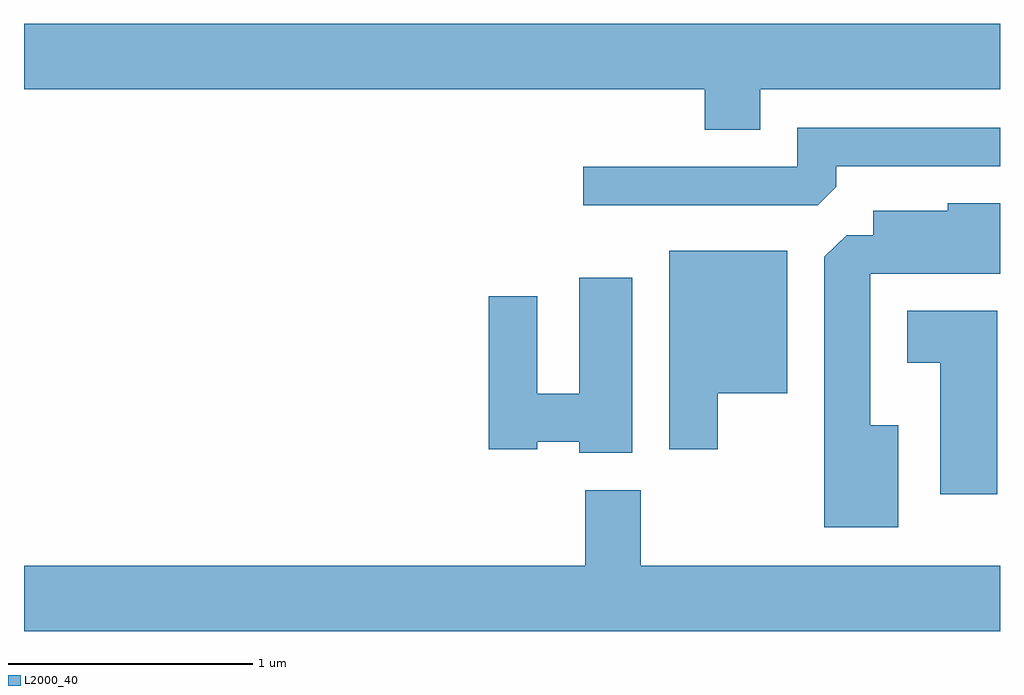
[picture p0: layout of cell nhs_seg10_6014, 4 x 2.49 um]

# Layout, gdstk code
import gdstk
lib = gdstk.Library(unit=1e-6, precision=1e-09)
def P(c, l, *ps):  # polygons
    for p in ps: c.add(gdstk.Polygon(p, *l))
L2000_40 = (2000, 40)

nhs_seg10_6014 = lib.new_cell('nhs_seg10_6014')
P(nhs_seg10_6014, L2000_40, [(366.629,2085.056),(367.611,2085.056),(367.611,2085.324),(363.611,2085.324),(363.611,2085.056),(366.401,2085.056),(366.401,2084.891),(366.629,2084.891)],
  [(366.939,2084.657),(366.939,2084.741),(367.611,2084.741),(367.611,2084.899),(366.781,2084.899),(366.781,2084.739),(365.903,2084.739),(365.903,2084.581),(366.864,2084.581)],
  [(367.194,2083.679),(367.079,2083.679),(367.079,2084.301),(367.611,2084.301),(367.611,2084.589),(367.396,2084.589),(367.396,2084.559),(367.091,2084.559),(367.091,2084.459),(366.982,2084.459),(366.891,2084.369),(366.891,2083.261),(367.194,2083.261)],
  [(366.454,2083.811),(366.739,2083.811),(366.739,2084.394),(366.256,2084.394),(366.256,2083.581),(366.454,2083.581)],
  [(366.104,2084.284),(365.886,2084.284),(365.886,2083.809),(365.714,2083.809),(365.714,2084.209),(365.516,2084.209),(365.516,2083.581),(365.714,2083.581),(365.714,2083.611),(365.886,2083.611),(365.886,2083.566),(366.104,2083.566)],
  [(367.599,2084.149),(367.231,2084.149),(367.231,2083.936),(367.366,2083.936),(367.366,2083.396),(367.599,2083.396)],
  [(367.611,2083.104),(366.139,2083.104),(366.139,2083.414),(365.911,2083.414),(365.911,2083.104),(363.611,2083.104),(363.611,2082.836),(367.611,2082.836)])

lib.write_gds('nhs_seg10_6014.gds')
